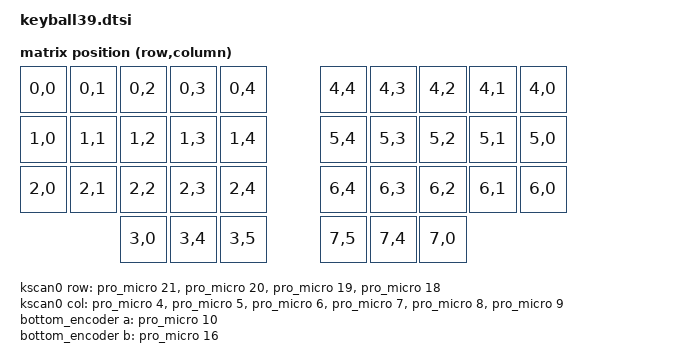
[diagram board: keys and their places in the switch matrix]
#include <dt-bindings/zmk/matrix_transform.h>

/ {
    chosen {
        zmk,kscan = &kscan0;
        zmk,matrix_transform = &default_transform;
    };

    default_transform: keymap_transform_0 {
        compatible = "zmk,matrix-transform";
        columns = <6>;
        rows = <8>;

        map = <
RC(0,0) RC(0,1) RC(0,2) RC(0,3) RC(0,4)                 RC(4,4) RC(4,3) RC(4,2) RC(4,1) RC(4,0)
RC(1,0) RC(1,1) RC(1,2) RC(1,3) RC(1,4)                 RC(5,4) RC(5,3) RC(5,2) RC(5,1) RC(5,0)
RC(2,0) RC(2,1) RC(2,2) RC(2,3) RC(2,4)                 RC(6,4) RC(6,3) RC(6,2) RC(6,1) RC(6,0)
RC(3,0)                         RC(3,4) RC(3,5) RC(7,5) RC(7,4)                         RC(7,0)       
        >;
    };

    kscan0: kscan {
        compatible = "zmk,kscan-gpio-matrix";
        wakeup-source;

        diode-direction = "col2row";
        row-gpios
            = <&pro_micro 21 (GPIO_ACTIVE_HIGH | GPIO_PULL_DOWN)>
            , <&pro_micro 20 (GPIO_ACTIVE_HIGH | GPIO_PULL_DOWN)>
            , <&pro_micro 19  (GPIO_ACTIVE_HIGH | GPIO_PULL_DOWN)>
            , <&pro_micro 18 (GPIO_ACTIVE_HIGH | GPIO_PULL_DOWN)>
            ;
        
        col-gpios
            = <&pro_micro 4  GPIO_ACTIVE_HIGH>
            , <&pro_micro 5  GPIO_ACTIVE_HIGH>
            , <&pro_micro 6  GPIO_ACTIVE_HIGH>
            , <&pro_micro 7  GPIO_ACTIVE_HIGH>
            , <&pro_micro 8  GPIO_ACTIVE_HIGH>
            , <&pro_micro 9  GPIO_ACTIVE_HIGH>
            ;
    };

    bottom_encoder: encoder_bottom {
        compatible = "alps,ec11";
        a-gpios = <&pro_micro 10 (GPIO_ACTIVE_HIGH | GPIO_PULL_UP)>;
        b-gpios = <&pro_micro 16 (GPIO_ACTIVE_HIGH | GPIO_PULL_UP)>;
        // Eventually, left click with this 
        c-gpios = <&pro_micro 9 (GPIO_ACTIVE_HIGH | GPIO_PULL_UP)>;
        steps = <30>;
        status = "disabled";
    }; 
    sensors {
        compatible = "zmk,keymap-sensors";
        sensors = <&bottom_encoder>;
        triggers-per-rotation = <15>;
    };
};
 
